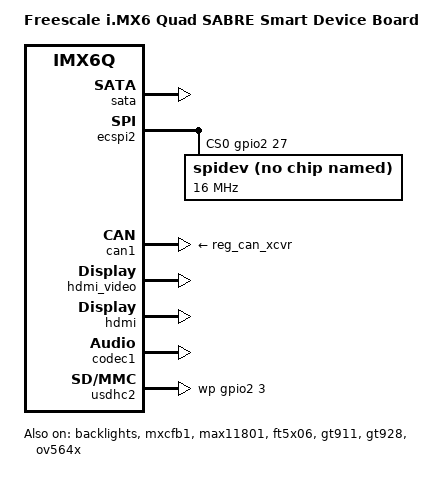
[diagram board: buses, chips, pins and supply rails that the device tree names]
/*
 * Copyright 2012=2015 Freescale Semiconductor, Inc.
 * Copyright 2011 Linaro Ltd.
 *
 * The code contained herein is licensed under the GNU General Public
 * License. You may obtain a copy of the GNU General Public License
 * Version 2 or later at the following locations:
 *
 * http://www.opensource.org/licenses/gpl-license.html
 * http://www.gnu.org/copyleft/gpl.html
 */

/dts-v1/;

#include "imx6q.dtsi"
#include "imx6qdl-sabresd.dtsi"

/ {
	model = "Freescale i.MX6 Quad SABRE Smart Device Board";
	compatible = "fsl,imx6q-sabresd", "fsl,imx6q";
};

&battery {
	offset-charger = <1900>;
	offset-discharger = <1694>;
	offset-usb-charger = <1685>;
};

&ldb {
	lvds-channel@0 {
		crtc = "ipu2-di0";
		primary;
	};

	lvds-channel@1 {
		crtc = "ipu2-di1";
	};
};

&backlights {
	pwms = <&pwm1 0 5000000>;
	status = "okay";
};

&mxcfb1 {
	compatible = "fsl,mxc_sdc_fb";
        disp_dev = "lcd";
        mode_str ="CLAA-WVGA";
        interface_pix_fmt = "RGB24";
        default_bpp = <16>;
        int_clk = <0>;
        late_init = <0>;
	status = "okay";
};

&mxcfb2 {
//	status = "okay";
};

&mxcfb3 {
//	status = "okay";
};

&mxcfb4 {
//	status = "okay";
};

&sata {
	status = "okay";
};


&ecspi1 {                   
	fsl,spi-num-chipselects = <1>;
        cs-gpios = <&gpio4 9 0>;
        pinctrl-names = "default";
        pinctrl-0 = <&pinctrl_ecspi1>;
        status = "disable";         
                                    
        flash: m25p80@0 {          
                #address-cells = <1>;
                #size-cells = <1>;
                compatible = "st,m25p32";
                spi-max-frequency = <20000000>;
                reg = <0>;                    
        };                                   
};

&ecspi2 {
	fsl,spi-num-chipselects = <1>;
	cs-gpios = <&gpio2 27 0>;
	pinctrl-names = "default";
	pinctrl-0 = <&pinctrl_ecspi2>;
	status = "okay";
	
	spidev: spidev@0 {
		#address-cells = <1>;
		#size-cells = <1>;
		compatible = "rohm,dh2228fv";
		spi-max-frequency = <16000000>;
		reg = <0>;
	};
};

&can1 {
	status = "okay";
	pinctrl-names = "default";
	pinctrl-0 = <&pinctrl_can1>;
	xceiver-supply  = <&reg_can_xcvr>;
};

&max11801 {
	status = "okay";
};

&ft5x06 {
	status = "okay";
};

&gt911 {
	status = "okay";
};

&gt928 {
	status = "okay";
};

&ov564x {
	status = "okay";
};

&hdmi_video {
	pinctrl-names = "default";
	pinctrl-0 = <&pinctrl_hdmi_hdcp>;
	fsl,hdcp;
	status = "okay";
};

&hdmi {
	status = "okay";
};

&codec1 {
        status = "okay";
};

&usdhc2 {
        wp-gpios = <&gpio2 3 GPIO_ACTIVE_HIGH>;
};
